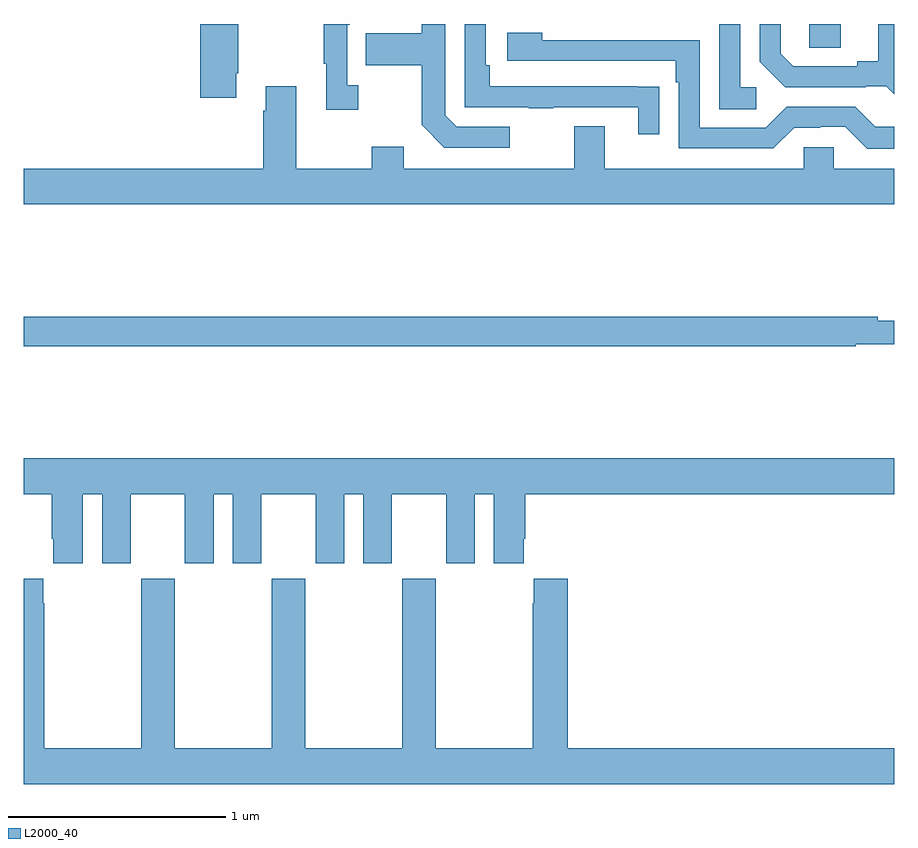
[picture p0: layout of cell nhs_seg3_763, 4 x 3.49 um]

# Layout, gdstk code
import gdstk
lib = gdstk.Library(unit=1e-6, precision=1e-09)
def R(c, l, rs):  # rectangles x0, y0, x1, y1
    for r in rs: c.add(gdstk.rectangle(r[:2], r[2:], *l))
def P(c, l, *ps):  # polygons
    for p in ps: c.add(gdstk.Polygon(p, *l))
L2000_40 = (2000, 40)

nhs_seg3_763 = lib.new_cell('nhs_seg3_763')
R(nhs_seg3_763, L2000_40, [(152.61,712.291,152.755,712.4)])
P(nhs_seg3_763, L2000_40, [(149.977,712.174),(149.985,712.174),(149.985,712.4),(149.81,712.4),(149.81,712.062),(149.977,712.062)],
  [(150.538,712.118),(150.486,712.118),(150.486,712.397),(150.499,712.397),(150.499,712.4),(150.378,712.4),(150.378,712.217),(150.389,712.217),(150.389,712.005),(150.538,712.005)],
  [(152.365,712.11),(152.292,712.11),(152.292,712.4),(152.196,712.4),(152.196,712.009),(152.365,712.009)],
  [(151.234,711.927),(150.99,711.927),(150.936,711.981),(150.936,712.4),(150.828,712.4),(150.828,712.357),(150.571,712.357),(150.571,712.21),(150.828,712.21),(150.828,711.937),(150.933,711.831),(151.234,711.831)],
  [(151.919,712.112),(151.817,712.112),(151.817,712.113),(151.142,712.113),(151.142,712.21),(151.122,712.21),(151.122,712.4),(151.026,712.4),(151.026,712.017),(151.321,712.017),(151.321,712.012),(151.433,712.012),(151.433,712.017),(151.823,712.017),(151.823,711.894),(151.919,711.894)],
  [(153,712.4),(152.927,712.4),(152.927,712.229),(152.831,712.229),(152.831,712.206),(152.536,712.206),(152.479,712.263),(152.479,712.4),(152.382,712.4),(152.382,712.226),(152.498,712.11),(152.87,712.11),(152.87,712.113),(152.964,712.113),(153,712.077)],
  [(153,711.927),(152.913,711.927),(152.82,712.02),(152.505,712.02),(152.409,711.924),(152.106,711.924),(152.106,712.326),(151.382,712.326),(151.382,712.36),(151.221,712.36),(151.221,712.23),(151.997,712.23),(151.997,712.133),(152.01,712.133),(152.01,711.828),(152.445,711.828),(152.541,711.924),(152.66,711.924),(152.66,711.927),(152.775,711.927),(152.875,711.827),(153,711.827)],
  [(153,711.736),(152.721,711.736),(152.721,711.834),(152.583,711.834),(152.583,711.736),(151.669,711.736),(151.669,711.931),(151.529,711.931),(151.529,711.736),(150.745,711.736),(150.745,711.835),(150.598,711.835),(150.598,711.736),(150.253,711.736),(150.253,712.114),(150.113,712.114),(150.113,712.001),(150.101,712.001),(150.101,711.736),(149,711.736),(149,711.572),(153,711.572)],
  [(152.824,710.928),(153,710.928),(153,711.037),(152.924,711.037),(152.924,711.056),(149,711.056),(149,710.92),(152.824,710.92)],
  [(149,710.24),(149.129,710.24),(149.129,710.035),(149.135,710.035),(149.135,709.923),(149.272,709.923),(149.272,710.24),(149.36,710.24),(149.36,709.923),(149.491,709.923),(149.491,710.24),(149.741,710.24),(149.741,709.923),(149.872,709.923),(149.872,710.24),(149.96,710.24),(149.96,709.923),(150.091,709.923),(150.091,710.24),(150.341,710.24),(150.341,709.923),(150.472,709.923),(150.472,710.24),(150.56,710.24),(150.56,709.923),(150.691,709.923),(150.691,710.24),(150.941,710.24),(150.941,709.923),(151.072,709.923),(151.072,710.24),(151.16,710.24),(151.16,709.923),(151.297,709.923),(151.297,710.035),(151.304,710.035),(151.304,710.24),(153,710.24),(153,710.404),(149,710.404)],
  [(153,709.072),(151.499,709.072),(151.499,709.852),(151.343,709.852),(151.343,709.739),(151.339,709.739),(151.339,709.072),(150.894,709.072),(150.894,709.852),(150.739,709.852),(150.739,709.072),(150.294,709.072),(150.294,709.852),(150.139,709.852),(150.139,709.072),(149.694,709.072),(149.694,709.852),(149.539,709.852),(149.539,709.072),(149.094,709.072),(149.094,709.739),(149.089,709.739),(149.089,709.852),(149,709.852),(149,708.908),(153,708.908)])

lib.write_gds('nhs_seg3_763.gds')
